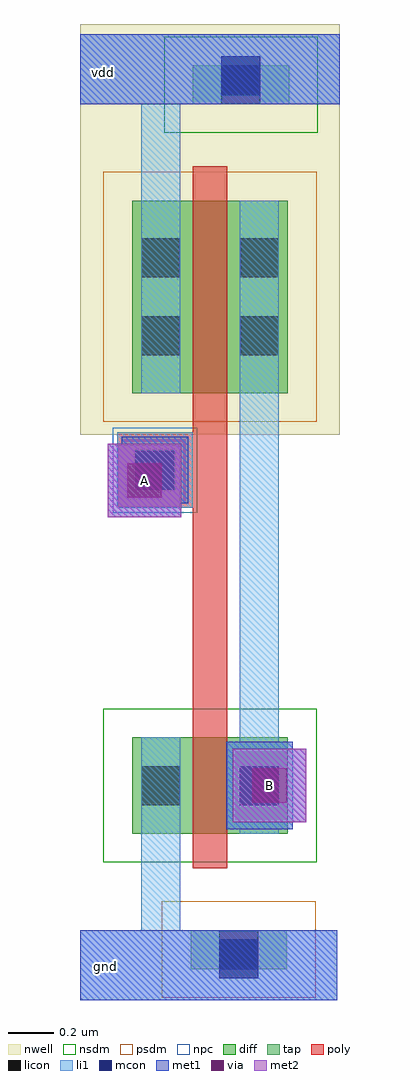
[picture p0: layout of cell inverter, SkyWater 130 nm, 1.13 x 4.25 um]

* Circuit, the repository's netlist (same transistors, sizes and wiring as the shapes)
* NGSPICE file created from inverter.ext - technology: sky130A

.subckt inverter A B gnd vdd
X0 B A gnd gnd sky130_fd_pr__nfet_01v8 ad=0.111 pd=1.37 as=0.111 ps=1.37 w=0.42 l=0.15
X1 B A vdd vdd sky130_fd_pr__pfet_01v8 ad=0.223 pd=2.21 as=0.223 ps=2.21 w=0.84 l=0.15
.ends

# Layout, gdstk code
import gdstk
lib = gdstk.Library(unit=1e-6, precision=1e-09)
def R(c, l, rs):  # rectangles x0, y0, x1, y1
    for r in rs: c.add(gdstk.rectangle(r[:2], r[2:], *l))
nwell = (64, 20)
diff = (65, 20)
tap = (65, 44)
poly = (66, 20)
licon = (66, 44)
li1 = (67, 20)
mcon = (67, 44)
met1 = (68, 20)
via = (68, 44)
met2 = (69, 20)
nsdm = (93, 44)
psdm = (94, 20)
npc = (95, 20)

inverter = lib.new_cell('inverter')
R(inverter, nwell, [(-0.49,1.74,0.64,3.53)])
R(inverter, diff, [(-0.265,0,0.415,0.42), (-0.265,1.92,0.415,2.76)])
R(inverter, tap, [(-0.01,-0.59,0.41,-0.42), (0,3.18,0.42,3.35)])
R(inverter, poly, [(0,-0.15,0.15,1.42), (-0.33,1.42,0.15,1.75), (0,1.75,0.15,2.91)])
R(inverter, licon, [(0.115,-0.59,0.285,-0.42), (-0.225,0.125,-0.055,0.295), (0.205,0.125,0.375,0.295), (-0.25,1.5,-0.08,1.67), (-0.225,2.085,-0.055,2.255), (0.205,2.085,0.375,2.255), (-0.225,2.425,-0.055,2.595), (0.205,2.425,0.375,2.595), (0.125,3.18,0.295,3.35)])
R(inverter, li1, [(-0.49,-0.725,0.63,-0.42), (-0.225,-0.42,-0.055,0.42), (0.205,0,0.375,0.02), (0.145,0.02,0.435,0.4), (0.205,0.4,0.375,2.76), (-0.33,1.42,0,1.75), (-0.225,1.92,-0.055,3.18), (-0.49,3.18,0.64,3.485)])
R(inverter, mcon, [(0.115,-0.63,0.285,-0.46), (0.205,0.125,0.375,0.295), (-0.25,1.5,-0.08,1.67), (0.125,3.22,0.295,3.39)])
R(inverter, met1, [(-0.49,-0.725,0.63,-0.42), (0.145,0.02,0.435,0.05), (0.145,0.05,0.495,0.37), (0.145,0.37,0.435,0.4), (-0.37,1.38,-0.05,1.44), (-0.37,1.44,-0.02,1.7), (-0.31,1.7,-0.02,1.73), (-0.49,3.18,0.64,3.485)])
R(inverter, via, [(0.26,0.135,0.41,0.285), (-0.285,1.465,-0.135,1.615)])
R(inverter, met2, [(0.175,0.05,0.495,0.37), (-0.37,1.38,-0.05,1.7)])
R(inverter, nsdm, [(-0.39,-0.125,0.54,0.545), (-0.125,3.055,0.545,3.475)])
R(inverter, psdm, [(-0.135,-0.715,0.535,-0.295), (-0.39,1.795,0.54,2.885)])
R(inverter, npc, [(-0.35,1.4,0.02,1.77)])
inverter.add(gdstk.Label('A', (-0.21,1.54), layer=69, texttype=5))
inverter.add(gdstk.Label('B', (0.335,0.21), layer=69, texttype=5))
inverter.add(gdstk.Label('gnd', (-0.38,-0.58), layer=68, texttype=5))
inverter.add(gdstk.Label('vdd', (-0.39,3.32), layer=68, texttype=5))

lib.write_gds('inverter.gds')
